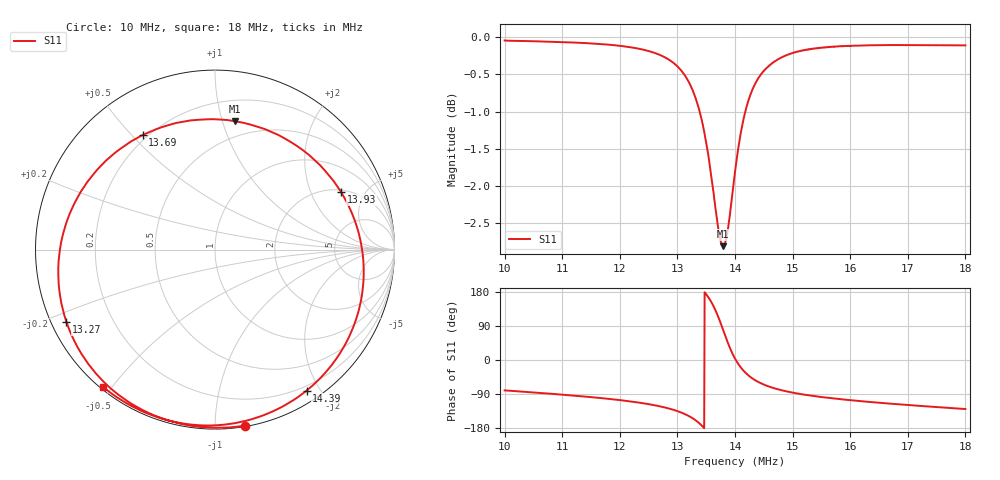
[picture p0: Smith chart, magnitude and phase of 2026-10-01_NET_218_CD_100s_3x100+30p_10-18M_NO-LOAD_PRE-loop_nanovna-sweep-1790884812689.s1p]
! NanoVNA Web complex sweep
! Processing: unaveraged complex samples; linear segment spacing; no smoothing
# Hz S RI R 50
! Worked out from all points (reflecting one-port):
!   1010 points, 10 MHz to 18 MHz, reference 50 ohm
!   lowest |S11| = -2.8 dB at 13.79 MHz (marker M1), VSWR 6.24, Z = 18.3 + j55 ohm
!   phase of S11 starts at -80 deg and turns -409 deg over the sweep
!   S11 on the Smith chart (normalised r, x): 10 MHz: 0.01, -1.19; 13.27 MHz: 0.04, -0.23; 13.69 MHz: 0.18, +0.54; 13.93 MHz: 2.11, +3.35; 14.39 MHz: 0.14, -1.83; 18 MHz: 0.01, -0.47
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1e7  0.169 -0.9805
1.100698e7  -0.026 -0.9921
1.200604e7  -0.2706 -0.9489
1.260864e7  -0.481 -0.849
1.283065e7  -0.5838 -0.771
1.300509e7  -0.6772 -0.674
1.314781e7  -0.7607 -0.5525
1.326675e7  -0.8274 -0.4042
1.339361e7  -0.8718 -0.1735
1.352048e7  -0.8263 0.1553
1.36077e7  -0.6728 0.4254
1.368698e7  -0.4023 0.6391
1.374249e7  -0.138 0.7195
1.379006e7  0.1125 0.7148
1.385349e7  0.4268 0.5966
1.389314e7  0.5846 0.471
1.393278e7  0.7022 0.321
1.400414e7  0.8129 0.0386
1.408344e7  0.8209 -0.238
1.417858e7  0.747 -0.4861
1.428166e7  0.6328 -0.6649
1.439267e7  0.51 -0.7855
1.463054e7  0.2938 -0.9137
1.50032e7  0.065 -0.9737
1.544722e7  -0.1148 -0.9765
1.600225e7  -0.272 -0.9479
1.700131e7  -0.4752 -0.8661
1.800036e7  -0.6266 -0.7632
